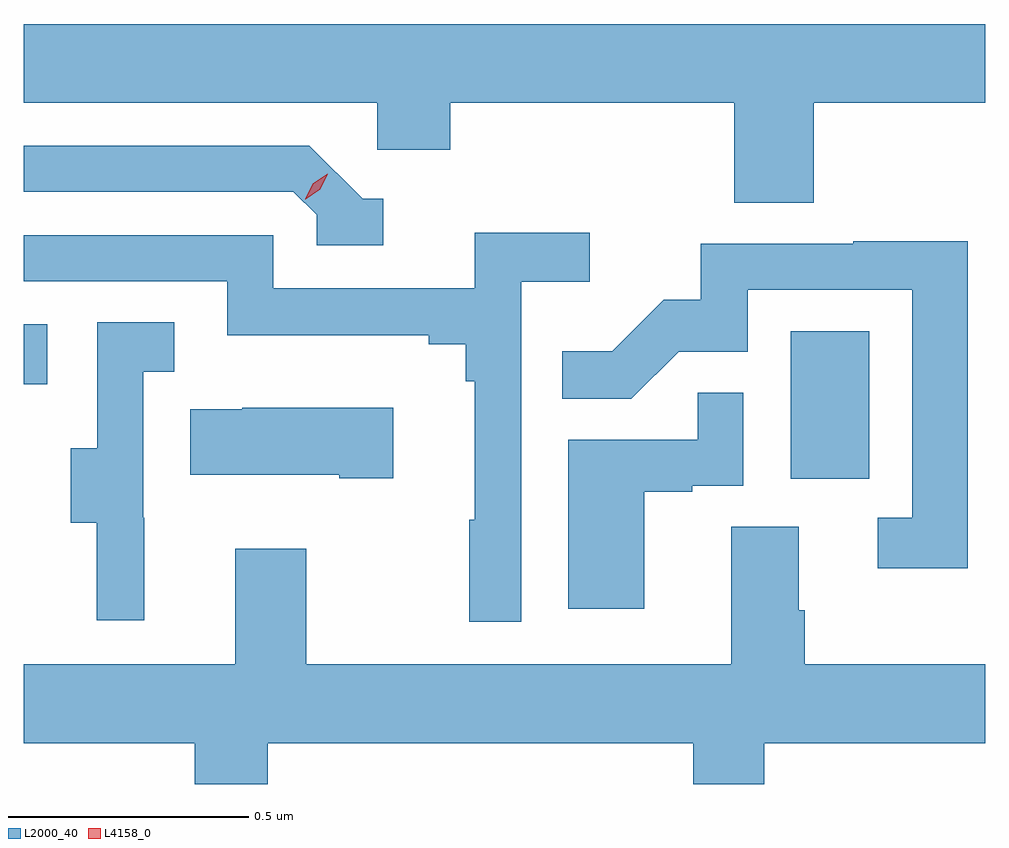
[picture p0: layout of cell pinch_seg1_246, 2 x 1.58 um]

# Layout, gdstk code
import gdstk
lib = gdstk.Library(unit=1e-6, precision=1e-09)
def R(c, l, rs):  # rectangles x0, y0, x1, y1
    for r in rs: c.add(gdstk.rectangle(r[:2], r[2:], *l))
def P(c, l, *ps):  # polygons
    for p in ps: c.add(gdstk.Polygon(p, *l))
L2000_40 = (2000, 40)
L4158_0 = (4158, 0)

pinch_seg1_246 = lib.new_cell('pinch_seg1_246')
R(pinch_seg1_246, L2000_40, [(914.168,566.934,914.332,567.241), (912.573,567.131,912.622,567.255)])
P(pinch_seg1_246, L2000_40, [(914.216,567.716),(914.573,567.716),(914.573,567.88),(912.573,567.88),(912.573,567.716),(913.308,567.716),(913.308,567.618),(913.46,567.618),(913.46,567.716),(914.051,567.716),(914.051,567.508),(914.216,567.508)],
  [(913.321,567.516),(913.278,567.516),(913.167,567.627),(912.573,567.627),(912.573,567.531),(913.134,567.531),(913.182,567.483),(913.182,567.42),(913.321,567.42)],
  [(913.608,567.344),(913.75,567.344),(913.75,567.446),(913.511,567.446),(913.511,567.33),(913.092,567.33),(913.092,567.441),(912.573,567.441),(912.573,567.345),(912.996,567.345),(912.996,567.233),(913.415,567.233),(913.415,567.214),(913.492,567.214),(913.492,567.137),(913.511,567.137),(913.511,566.849),(913.5,566.849),(913.5,566.637),(913.608,566.637)],
  [(914.537,567.428),(914.299,567.428),(914.299,567.423),(913.981,567.423),(913.981,567.306),(913.904,567.306),(913.797,567.199),(913.693,567.199),(913.693,567.1),(913.837,567.1),(913.935,567.198),(914.079,567.198),(914.079,567.327),(914.421,567.327),(914.421,566.853),(914.349,566.853),(914.349,566.748),(914.537,566.748)],
  [(912.824,566.853),(912.822,566.853),(912.822,567.157),(912.886,567.157),(912.886,567.26),(912.726,567.26),(912.726,566.997),(912.671,566.997),(912.671,566.842),(912.725,566.842),(912.725,566.64),(912.824,566.64)],
  [(913.864,566.907),(913.964,566.907),(913.964,566.919),(914.07,566.919),(914.07,567.113),(913.975,567.113),(913.975,567.015),(913.706,567.015),(913.706,566.664),(913.864,566.664)],
  [(913.342,567.082),(913.027,567.082),(913.027,567.079),(912.919,567.079),(912.919,566.942),(913.229,566.942),(913.229,566.935),(913.342,566.935)],
  [(913.081,566.384),(913.966,566.384),(913.966,566.299),(914.113,566.299),(914.113,566.384),(914.573,566.384),(914.573,566.548),(914.198,566.548),(914.198,566.66),(914.185,566.66),(914.185,566.834),(914.045,566.834),(914.045,566.548),(913.161,566.548),(913.161,566.788),(913.013,566.788),(913.013,566.548),(912.573,566.548),(912.573,566.384),(912.929,566.384),(912.929,566.299),(913.081,566.299)])
P(pinch_seg1_246, L4158_0, [(913.159,567.515),(913.159,567.516),(913.175,567.549),(913.205,567.569),(913.205,567.569),(913.205,567.569),(913.19,567.536),(913.16,567.515)])

lib.write_gds('pinch_seg1_246.gds')
